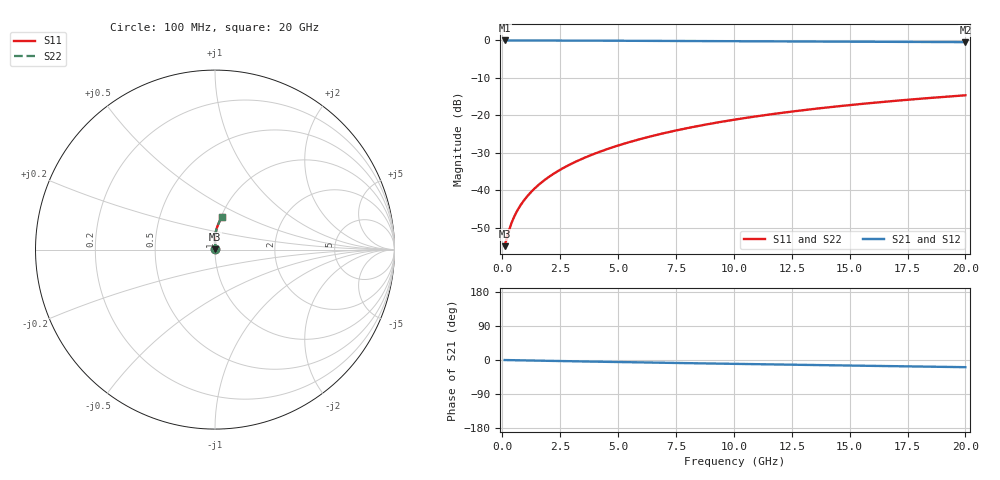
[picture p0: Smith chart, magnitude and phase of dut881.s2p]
! Touchstone file exported from HFSS 2024.1.0
!  File:  C:/UserFiles/LocalFiles/RDL_TSV_Batchsim/temp_RDL_bottom_881_1779865483.aedt
!  Generated:  03:07:33 PM May 27, 2026
!  Design:  RDL_bottom
!  Project:  temp_RDL_bottom_881_1779865483
!  Setup:  Setup1
!  Solution:  Sweep
! Variables:
!  dtsv = 10.80580581um
!  hbump = 3um
!  htsv = 67.23um
!  ldown = 251.4um
!  lrdl = 100um
!  p = 40
!  p1 = 48.09um
!  rhole = 1um
!  t = 450um
!  tdown = 2.7um
!  trdl = 3.915915916um
!  wdown = 26.02um
!  wrdl = 20um
# GHz S MA R 50.000000
! Terminal data exported
! Port[1] = RDL1_T1
! Port[2] = RDL1_T2
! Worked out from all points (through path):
!   200 points, 100 MHz to 20 GHz, reference 50 ohm
!   highest |S21| = -0.01 dB at 100 MHz (marker M1); lowest = -0.5 dB at 20 GHz (marker M2)
!   group delay of S21, straight-line fit = 2.6 ps
!   lowest |S11| = -54.9 dB at 100 MHz (marker M3), VSWR 1.00, Z = 50.2 + j0.0849 ohm
!   |S11| at or under -10 dB: start of sweep to end of sweep
!   |S22| runs from -54.9 to -14.6 dB; largest |S21 - S12| = 3.2e-15
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0.1  0.001802 28.0  0.9984 -0.1  0.9984 -0.1  0.001802 28.0
! Gamma 0 0 0 0
! Port Impedance 50 0 50 0
0.3  0.002998 55.1  0.9982 -0.3  0.9982 -0.3  0.002998 55.1
0.4  0.003678 61.0  0.9981 -0.5  0.9981 -0.5  0.003678 61.0
0.5  0.004361 65.1  0.998 -0.6  0.998 -0.6  0.004361 65.1
0.6  0.005043 68.2  0.9979 -0.7  0.9979 -0.7  0.005043 68.2
0.8  0.006413 72.7  0.9977 -0.9  0.9977 -0.9  0.006413 72.7
1  0.007798 75.9  0.9976 -1.1  0.9976 -1.1  0.007798 75.9
1.2  0.009204 78.4  0.9974 -1.3  0.9974 -1.3  0.009203 78.4
1.7  0.01281 82.5  0.9968 -1.9  0.9968 -1.9  0.01281 82.5
2.2  0.01654 85.2  0.996 -2.4  0.996 -2.4  0.01654 85.2
2.8  0.02117 87.3  0.995 -3.1  0.995 -3.1  0.02117 87.3
3.5  0.0268 88.9  0.9935 -3.8  0.9935 -3.8  0.0268 88.9
4.2  0.03266 89.9  0.9918 -4.6  0.9918 -4.6  0.03266 89.9
5  0.03963 90.5  0.9898 -5.4  0.9898 -5.4  0.03963 90.5
5.9  0.04778 90.8  0.9872 -6.3  0.9872 -6.3  0.04778 90.8
6.8  0.0562 90.7  0.9847 -7.2  0.9847 -7.2  0.0562 90.7
8.4  0.07165 89.8  0.98 -8.7  0.98 -8.7  0.07165 89.8
10.1  0.08846 88.4  0.9751 -10.3  0.9751 -10.3  0.08846 88.4
11.7  0.1044 86.9  0.9706 -11.7  0.9706 -11.7  0.1044 86.9
13.4  0.1214 85.1  0.9659 -13.2  0.9659 -13.2  0.1214 85.1
16.7  0.1538 81.5  0.9571 -16.1  0.9571 -16.1  0.1538 81.5
20  0.1853 78.0  0.9484 -18.9  0.9484 -18.9  0.1853 78.0
